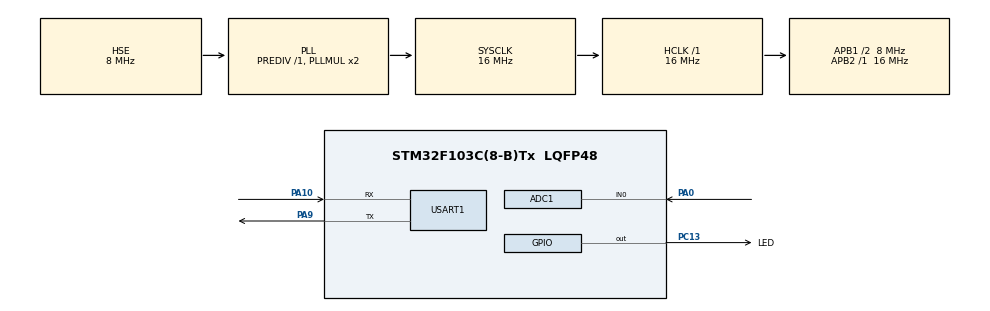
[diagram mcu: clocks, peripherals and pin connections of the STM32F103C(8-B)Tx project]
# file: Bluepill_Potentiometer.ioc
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ADC1.Channel-3\#ChannelRegularConversion=ADC_CHANNEL_0
ADC1.ContinuousConvMode=DISABLE
ADC1.DataAlign=ADC_DATAALIGN_RIGHT
ADC1.EnableRegularConversion=ENABLE
ADC1.ExternalTrigConv=ADC_EXTERNALTRIGCONV_T3_TRGO
ADC1.NbrOfConversionFlag=1
ADC1.Rank-3\#ChannelRegularConversion=1
ADC1.SamplingTime-3\#ChannelRegularConversion=ADC_SAMPLETIME_71CYCLES_5
ADC1.master=1
Dma.ADC1.0.Direction=DMA_PERIPH_TO_MEMORY
Dma.ADC1.0.Instance=DMA1_Channel1
Dma.ADC1.0.MemDataAlignment=DMA_MDATAALIGN_HALFWORD
Dma.ADC1.0.MemInc=DMA_MINC_ENABLE
Dma.ADC1.0.Mode=DMA_CIRCULAR
Dma.ADC1.0.PeriphDataAlignment=DMA_PDATAALIGN_HALFWORD
Dma.ADC1.0.PeriphInc=DMA_PINC_DISABLE
Dma.ADC1.0.Priority=DMA_PRIORITY_MEDIUM
Dma.Request0=ADC1
Mcu.Family=STM32F1
Mcu.Name=STM32F103C(8-B)Tx
Mcu.Package=LQFP48
NVIC.DMA1_Channel1_IRQn=true\:0\:0\:false\:false\:true\:false\:true\:true
NVIC.PriorityGroup=NVIC_PRIORITYGROUP_4
NVIC.TIM3_IRQn=true\:0\:0\:false\:false\:true\:true\:true\:true
PA0-WKUP.Signal=ADCx_IN0
PA10.Mode=Asynchronous
PA10.Signal=USART1_RX
PA13.Mode=Serial_Wire
PA13.Signal=SYS_JTMS-SWDIO
PA14.Mode=Serial_Wire
PA14.Signal=SYS_JTCK-SWCLK
PA9.Mode=Asynchronous
PA9.Signal=USART1_TX
PC13-TAMPER-RTC.GPIO_Label=LED
PC13-TAMPER-RTC.GPIO_ModeDefaultOutputPP=GPIO_MODE_OUTPUT_OD
PC13-TAMPER-RTC.GPIO_PuPd=GPIO_NOPULL
PC13-TAMPER-RTC.PinState=GPIO_PIN_SET
PC13-TAMPER-RTC.Signal=GPIO_Output
PD0-OSC_IN.Mode=HSE-External-Oscillator
PD0-OSC_IN.Signal=RCC_OSC_IN
PD1-OSC_OUT.Mode=HSE-External-Oscillator
PD1-OSC_OUT.Signal=RCC_OSC_OUT
ProjectManager.HeapSize=0x200
ProjectManager.StackSize=0x400
ProjectManager.TargetToolchain=STM32CubeIDE
RCC.AHBFreq_Value=16000000
RCC.APB1CLKDivider=RCC_HCLK_DIV2
RCC.APB1Freq_Value=8000000
RCC.APB1TimFreq_Value=16000000
RCC.APB2Freq_Value=16000000
RCC.APB2TimFreq_Value=16000000
RCC.HCLKFreq_Value=16000000
RCC.PLLSourceVirtual=RCC_PLLSOURCE_HSE
RCC.SYSCLKFreq_VALUE=16000000
RCC.SYSCLKSource=RCC_SYSCLKSOURCE_PLLCLK
RCC.USBFreq_Value=16000000
SH.ADCx_IN0.0=ADC1_IN0,IN0
TIM3.Period=500-1
TIM3.Prescaler=16000-1
TIM3.TIM_MasterOutputTrigger=TIM_TRGO_UPDATE
USART1.VirtualMode=VM_ASYNC
VP_TIM3_VS_ClockSourceINT.Mode=Internal
board=custom

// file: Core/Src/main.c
/* USER CODE BEGIN Header */
/**
  ******************************************************************************
  * @file           : main.c
  * @brief          : Main program body
  ******************************************************************************
  * @attention
  *
  * Copyright (c) 2026 STMicroelectronics.
  * All rights reserved.
  *
  * This software is licensed under terms that can be found in the LICENSE file
  * in the root directory of this software component.
  * If no LICENSE file comes with this software, it is provided AS-IS.
  *
  ******************************************************************************
  */
/* USER CODE END Header */
#include "main.h"

/* USER CODE BEGIN Includes */
#include<stdio.h>
/* USER CODE END Includes */

ADC_HandleTypeDef hadc1;
DMA_HandleTypeDef hdma_adc1;

TIM_HandleTypeDef htim3;

UART_HandleTypeDef huart1;

/* USER CODE BEGIN PV */
uint16_t adc_dma_buffer[2];
uint8_t adc_idx;
/* USER CODE END PV */

void SystemClock_Config(void);
static void MX_GPIO_Init(void);
static void MX_DMA_Init(void);
static void MX_ADC1_Init(void);
static void MX_USART1_UART_Init(void);
static void MX_TIM3_Init(void);

/* USER CODE BEGIN 0 */
int _write(int fd, char *ptr, int len){
	if(fd!=1 && fd!=2) return -1;

	HAL_StatusTypeDef status;
	status=HAL_UART_Transmit(&huart1, (uint8_t *)ptr, len, HAL_MAX_DELAY);

	if(status==HAL_OK) return len;
	else return 0;
}

/* USER CODE END 0 */

int main(void)
{

  /* MCU Configuration--------------------------------------------------------*/

  /* Reset of all peripherals, Initializes the Flash interface and the Systick. */
  HAL_Init();

  /* Configure the system clock */
  SystemClock_Config();

  /* Initialize all configured peripherals */
  MX_GPIO_Init();
  MX_DMA_Init();
  MX_ADC1_Init();
  MX_USART1_UART_Init();
  MX_TIM3_Init();
  /* USER CODE BEGIN 2 */
  uint32_t now=0, nextBlink=500;
  uint16_t cur_ADC;
  float cur_voltage;

  HAL_ADCEx_Calibration_Start(&hadc1);
  HAL_Delay(10);

  HAL_ADC_Start_DMA(&hadc1, (uint32_t *)adc_dma_buffer, 2);

  HAL_TIM_Base_Start_IT(&htim3);  //Interrupt activated only for debugging purposes, not necessary.

  /* USER CODE END 2 */

  /* Infinite loop */
  /* USER CODE BEGIN WHILE */
  while (1)
  {
	  now=uwTick;

	  if(now>=nextBlink){
		  HAL_GPIO_TogglePin(LED_GPIO_Port, LED_Pin);
		  printf("Cur time: %lu s\r\n", now/1000);

//		  HAL_ADC_Start(&hadc1);
//		  if(HAL_ADC_PollForConversion(&hadc1, 10)==HAL_OK){
//			  HAL_ADC_Stop(&hadc1);
//			  cur_ADC=HAL_ADC_GetValue(&hadc1);
//
//			  cur_voltage=(cur_ADC*3.3f)/4095.0f;
//
//			  printf("Cur Voltage: %.1f V\r\n", cur_voltage);
//		  }
//		  else{
//			  printf("Timeout\r\n");
//		  }

		  cur_ADC=adc_dma_buffer[0];
		  cur_voltage=(cur_ADC*3.3f)/4095.0f;
		  printf("Cur Voltage: %.1f V\r\n", cur_voltage);

		  nextBlink+=500;
	  }
    /* USER CODE END WHILE */

  }
}

void SystemClock_Config(void)
{
  RCC_OscInitTypeDef RCC_OscInitStruct = {0};
  RCC_ClkInitTypeDef RCC_ClkInitStruct = {0};
  RCC_PeriphCLKInitTypeDef PeriphClkInit = {0};

  /** Initializes the RCC Oscillators according to the specified parameters
  * in the RCC_OscInitTypeDef structure.
  */
  RCC_OscInitStruct.OscillatorType = RCC_OSCILLATORTYPE_HSE;
  RCC_OscInitStruct.HSEState = RCC_HSE_ON;
  RCC_OscInitStruct.HSEPredivValue = RCC_HSE_PREDIV_DIV1;
  RCC_OscInitStruct.HSIState = RCC_HSI_ON;
  RCC_OscInitStruct.PLL.PLLState = RCC_PLL_ON;
  RCC_OscInitStruct.PLL.PLLSource = RCC_PLLSOURCE_HSE;
  RCC_OscInitStruct.PLL.PLLMUL = RCC_PLL_MUL2;
  if (HAL_RCC_OscConfig(&RCC_OscInitStruct) != HAL_OK)
  {
    Error_Handler();
  }

  /** Initializes the CPU, AHB and APB buses clocks
  */
  RCC_ClkInitStruct.ClockType = RCC_CLOCKTYPE_HCLK|RCC_CLOCKTYPE_SYSCLK
                              |RCC_CLOCKTYPE_PCLK1|RCC_CLOCKTYPE_PCLK2;
  RCC_ClkInitStruct.SYSCLKSource = RCC_SYSCLKSOURCE_PLLCLK;
  RCC_ClkInitStruct.AHBCLKDivider = RCC_SYSCLK_DIV1;
  RCC_ClkInitStruct.APB1CLKDivider = RCC_HCLK_DIV2;
  RCC_ClkInitStruct.APB2CLKDivider = RCC_HCLK_DIV1;

  if (HAL_RCC_ClockConfig(&RCC_ClkInitStruct, FLASH_LATENCY_0) != HAL_OK)
  {
    Error_Handler();
  }
  PeriphClkInit.PeriphClockSelection = RCC_PERIPHCLK_ADC;
  PeriphClkInit.AdcClockSelection = RCC_ADCPCLK2_DIV2;
  if (HAL_RCCEx_PeriphCLKConfig(&PeriphClkInit) != HAL_OK)
  {
    Error_Handler();
  }
}

static void MX_ADC1_Init(void)
{

  ADC_ChannelConfTypeDef sConfig = {0};

  /** Common config
  */
  hadc1.Instance = ADC1;
  hadc1.Init.ScanConvMode = ADC_SCAN_DISABLE;
  hadc1.Init.ContinuousConvMode = DISABLE;
  hadc1.Init.DiscontinuousConvMode = DISABLE;
  hadc1.Init.ExternalTrigConv = ADC_EXTERNALTRIGCONV_T3_TRGO;
  hadc1.Init.DataAlign = ADC_DATAALIGN_RIGHT;
  hadc1.Init.NbrOfConversion = 1;
  if (HAL_ADC_Init(&hadc1) != HAL_OK)
  {
    Error_Handler();
  }

  /** Configure Regular Channel
  */
  sConfig.Channel = ADC_CHANNEL_0;
  sConfig.Rank = ADC_REGULAR_RANK_1;
  sConfig.SamplingTime = ADC_SAMPLETIME_71CYCLES_5;
  if (HAL_ADC_ConfigChannel(&hadc1, &sConfig) != HAL_OK)
  {
    Error_Handler();
  }

}

static void MX_TIM3_Init(void)
{

  TIM_ClockConfigTypeDef sClockSourceConfig = {0};
  TIM_MasterConfigTypeDef sMasterConfig = {0};

  htim3.Instance = TIM3;
  htim3.Init.Prescaler = 16000-1;
  htim3.Init.CounterMode = TIM_COUNTERMODE_UP;
  htim3.Init.Period = 500-1;
  htim3.Init.ClockDivision = TIM_CLOCKDIVISION_DIV1;
  htim3.Init.AutoReloadPreload = TIM_AUTORELOAD_PRELOAD_DISABLE;
  if (HAL_TIM_Base_Init(&htim3) != HAL_OK)
  {
    Error_Handler();
  }
  sClockSourceConfig.ClockSource = TIM_CLOCKSOURCE_INTERNAL;
  if (HAL_TIM_ConfigClockSource(&htim3, &sClockSourceConfig) != HAL_OK)
  {
    Error_Handler();
  }
  sMasterConfig.MasterOutputTrigger = TIM_TRGO_UPDATE;
  sMasterConfig.MasterSlaveMode = TIM_MASTERSLAVEMODE_DISABLE;
  if (HAL_TIMEx_MasterConfigSynchronization(&htim3, &sMasterConfig) != HAL_OK)
  {
    Error_Handler();
  }

}

static void MX_USART1_UART_Init(void)
{

  huart1.Instance = USART1;
  huart1.Init.BaudRate = 115200;
  huart1.Init.WordLength = UART_WORDLENGTH_8B;
  huart1.Init.StopBits = UART_STOPBITS_1;
  huart1.Init.Parity = UART_PARITY_NONE;
  huart1.Init.Mode = UART_MODE_TX_RX;
  huart1.Init.HwFlowCtl = UART_HWCONTROL_NONE;
  huart1.Init.OverSampling = UART_OVERSAMPLING_16;
  if (HAL_UART_Init(&huart1) != HAL_OK)
  {
    Error_Handler();
  }

}

static void MX_DMA_Init(void)
{

  /* DMA controller clock enable */
  __HAL_RCC_DMA1_CLK_ENABLE();

  /* DMA interrupt init */
  /* DMA1_Channel1_IRQn interrupt configuration */
  HAL_NVIC_SetPriority(DMA1_Channel1_IRQn, 0, 0);
  HAL_NVIC_EnableIRQ(DMA1_Channel1_IRQn);

}

static void MX_GPIO_Init(void)
{
  GPIO_InitTypeDef GPIO_InitStruct = {0};

  /* GPIO Ports Clock Enable */
  __HAL_RCC_GPIOC_CLK_ENABLE();
  __HAL_RCC_GPIOD_CLK_ENABLE();
  __HAL_RCC_GPIOA_CLK_ENABLE();

  /*Configure GPIO pin Output Level */
  HAL_GPIO_WritePin(LED_GPIO_Port, LED_Pin, GPIO_PIN_SET);

  /*Configure GPIO pin : LED_Pin */
  GPIO_InitStruct.Pin = LED_Pin;
  GPIO_InitStruct.Mode = GPIO_MODE_OUTPUT_OD;
  GPIO_InitStruct.Pull = GPIO_NOPULL;
  GPIO_InitStruct.Speed = GPIO_SPEED_FREQ_LOW;
  HAL_GPIO_Init(LED_GPIO_Port, &GPIO_InitStruct);

}

void Error_Handler(void)
{
  __disable_irq();
  while (1)
  {
  }
}
